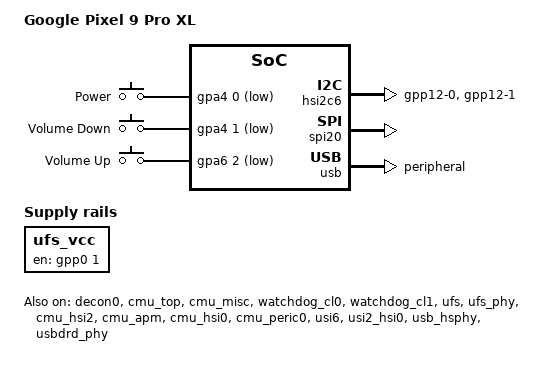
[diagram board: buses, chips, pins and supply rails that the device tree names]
// SPDX-License-Identifier: GPL-2.0-only
/*
 * Google Pixel 9 Pro XL (komodo) board identification.
 *
 * Boot, storage, display and USB2 paths are described here. Experimental
 * touch, Type-C, WLAN and GPU devices remain disabled.
 */

/dts-v1/;

#include <dt-bindings/gpio/gpio.h>
#include <dt-bindings/clock/google,zumapro-acpm.h>
#include <dt-bindings/input/linux-event-codes.h>
#include "../exynos-pinctrl.h"
#include "zumapro.dtsi"
/* SoC reservations remain source-derived. Komodo's display handoff is added
 * below from the live address and geometry measured on the phone.
 */
#include "zumapro-reserved-memory.dtsi"

/ {
	model = "Google Pixel 9 Pro XL";
	compatible = "google,zumapro-komodo", "google,zumapro";

	gpio-keys {
		compatible = "gpio-keys";

		key-power {
			label = "Power";
			linux,code = <KEY_POWER>;
			gpios = <&gpa4 0 GPIO_ACTIVE_LOW>;
			wakeup-source;
		};

		key-volume-down {
			label = "Volume Down";
			linux,code = <KEY_VOLUMEDOWN>;
			gpios = <&gpa4 1 GPIO_ACTIVE_LOW>;
		};

		key-volume-up {
			label = "Volume Up";
			linux,code = <KEY_VOLUMEUP>;
			gpios = <&gpa6 2 GPIO_ACTIVE_LOW>;
		};
	};

	/* Zumapro's UFS VCC switch is GPIO GPP0[1]. */
	ufs_vcc: regulator-ufs-vcc {
		compatible = "regulator-fixed";
		regulator-name = "ufs-vcc";
		gpio = <&gpp0 1 GPIO_ACTIVE_HIGH>;
		enable-active-high;
		regulator-boot-on;
		regulator-always-on;
	};

	wlan_reg_on: regulator-wlan-reg-on {
		compatible = "regulator-fixed";
		regulator-name = "wlan-reg-on";
		gpio = <&gph3 4 GPIO_ACTIVE_HIGH>;
		enable-active-high;
		startup-delay-us = <150000>;
		pinctrl-names = "default";
		pinctrl-0 = <&komodo_wlan_reg_on_pins>;
		status = "disabled";
	};

	/* The phone reports package mode 0; Google's tuple identifies FOPLP. */
	soc_compatible {
		A0_FOPLP {
			product_id = <0x9875>;
			major = <0>;
			minor = <0>;
			pkg_mode = <0>;
		};

		A1_FOPLP {
			product_id = <0x9875>;
			major = <0>;
			minor = <1>;
			pkg_mode = <0>;
		};

		A0_IPOP {
			product_id = <0x9875>;
			major = <0>;
			minor = <0>;
			pkg_mode = <1>;
		};

		A1_IPOP {
			product_id = <0x9875>;
			major = <0>;
			minor = <1>;
			pkg_mode = <1>;
		};
	};

	chosen {
		bootargs = "clk_ignore_unused pd_ignore_unused panic=10 mem_sleep_default=s2idle";
	};

	komodo_gpu_opp: opp-table-gpu {
		compatible = "operating-points-v2";
		status = "disabled";

		opp-150000000 {
			opp-hz = /bits/ 64 <150000000>;
			opp-suspend;
		};

		opp-302000000 {
			opp-hz = /bits/ 64 <302000000>;
		};
	};
};

/ {
	reserved-memory {
		komodo_boot_fb: framebuffer@fac00000 {
			reg = <0x0 0xfac00000 (1344 * 2992 * 4)>;
			no-map;
		};

		komodo_display_pool: display-pool {
			compatible = "shared-dma-pool";
			reusable;
			size = <0x04000000>;
			alignment = <0x0 0x00200000>;
			alloc-ranges = <0x0 0xc4000000 0x10000000>;
		};

		/*
		 * All of the Wi-Fi chip's DMA buffers come from this pool. It keeps
		 * driver bugs away from the rest of RAM; it does not confine the
		 * chip's own firmware, as the HSI2 System MMU and S2MPU see PCIe and
		 * UFS on the same VID and cannot enforce on it.
		 */
		wifi_dma_pool: wifi-dma-pool {
			compatible = "restricted-dma-pool";
			size = <0x01000000>;
			alignment = <0x0 0x00200000>;
			alloc-ranges = <0x0 0x80000000 0x80000000>;
		};

	};
};

&decon0 {
	compatible = "google,zumapro-decon";
	memory-region = <&komodo_display_pool>, <&komodo_boot_fb>;
	memory-region-names = "pool", "boot-framebuffer";
	status = "okay";
};

/* Service both boot-enabled cluster watchdogs during early Linux startup. */
&pmu_system_controller {
	status = "okay";
};

/* The watchdog clocks are supplied by these disabled-by-default CMUs. */
&cmu_top {
	status = "okay";
};

&cmu_misc {
	status = "okay";
};

&watchdog_cl0 {
	status = "okay";
};

&watchdog_cl1 {
	status = "okay";
};

/* UFS with this supply was exercised in rescue and persistent boots. */
&sysreg_ufs {
	status = "okay";
};

&pinctrl_hsi2ufs {
	status = "okay";
};

&ufs {
	vcc-supply = <&ufs_vcc>;
	status = "okay";
};

&ufs_phy {
	status = "okay";
};

/* UFS's core and UniPro clocks are exported by the HSI2 CMU. */
&cmu_hsi2 {
	status = "okay";
};

/* ACPM owns the PMIC rails used by the USB2 PHY and the disabled touch node. */
&acpm_ipc {
	status = "okay";

	pmic-1 {
		compatible = "samsung,s2mpg14-pmic";

		regulators {
			eusb_vdd: ldo8m {
				regulator-name = "eusb-vdd";
			};

			eusb_vdda12: ldo9m {
				regulator-name = "eusb-vdda12";
			};

			touch_avdd: ldo4m {
				regulator-name = "touch-avdd";
				regulator-min-microvolt = <3300000>;
				regulator-max-microvolt = <3300000>;
			};

			touch_vdd: ldo25m {
				regulator-name = "touch-vdd";
				regulator-min-microvolt = <1800000>;
				regulator-max-microvolt = <1800000>;
			};
		};
	};
};

&ap2apm_mailbox {
	status = "okay";
};

&apm_sram {
	status = "okay";
};

&cmu_apm {
	status = "okay";
};

&cmu_hsi0 {
	status = "okay";
};

&cmu_peric0 {
	status = "okay";
};

&sysreg_apm {
	status = "okay";
};

&sysreg_hsi0 {
	status = "okay";
};

&sysreg_peric0 {
	status = "okay";
};

&pinctrl_alive {
	status = "okay";

	komodo_usb_pd_irq: usb-pd-irq-pins {
		samsung,pins = "gpa8-3";
		samsung,pin-function = <EXYNOS_PIN_FUNC_EINT>;
		samsung,pin-pud = <EXYNOS_PIN_PULL_UP>;
		samsung,pin-drv = <0>;
	};
};

&pinctrl_custom_alive {
	status = "okay";
};

&pinctrl_peric0 {
	status = "okay";

	komodo_hsi2c6_pins: hsi2c6-bus-pins {
		samsung,pins = "gpp12-0", "gpp12-1";
		samsung,pin-function = <3>;
		samsung,pin-pud = <3>;
		samsung,pin-drv = <0>;
	};

	komodo_touch_reset: touch-reset-pins {
		samsung,pins = "gpp1-1";
		samsung,pin-function = <1>;
		samsung,pin-val = <0>;
	};
};

&pinctrl_hsi2 {
	status = "okay";

	komodo_wlan_reg_on_pins: wlan-reg-on-pins {
		samsung,pins = "gph3-4";
		samsung,pin-function = <2>;
		samsung,pin-pud = <0>;
		samsung,pin-con-pdn = <3>;
		samsung,pin-pud-pdn = <0>;
		samsung,pin-drv = <2>;
	};
};

&gpa4 {
	interrupt-controller;
	#interrupt-cells = <2>;
	interrupts = <GIC_SPI 28 IRQ_TYPE_LEVEL_HIGH>,
		     <GIC_SPI 29 IRQ_TYPE_LEVEL_HIGH>;
};

&gpa6 {
	interrupt-controller;
	#interrupt-cells = <2>;
	interrupts = <GIC_SPI 30 IRQ_TYPE_LEVEL_HIGH>,
		     <GIC_SPI 31 IRQ_TYPE_LEVEL_HIGH>,
		     <GIC_SPI 32 IRQ_TYPE_LEVEL_HIGH>,
		     <GIC_SPI 33 IRQ_TYPE_LEVEL_HIGH>,
		     <GIC_SPI 34 IRQ_TYPE_LEVEL_HIGH>,
		     <GIC_SPI 35 IRQ_TYPE_LEVEL_HIGH>;
};

&gpa8 {
	interrupt-controller;
	#interrupt-cells = <2>;
	interrupt-parent = <&gic>;
	interrupts = <0 44 4>, <0 45 4>, <0 46 4>, <0 47 4>;
};

&gpn0 {
	interrupt-controller;
	#interrupt-cells = <2>;
	interrupts = <0 0 4>;
};

&usi6 {
	status = "okay";
};

&hsi2c6 {
	#address-cells = <1>;
	#size-cells = <0>;
	pinctrl-names = "default";
	pinctrl-0 = <&komodo_hsi2c6_pins>;
	status = "okay";

	tcpc@25 {
		compatible = "maxim,max77759-tcpci", "maxim,max33359";
		reg = <0x25>;
		interrupt-parent = <&gpa8>;
		interrupts = <3 8>;
		pinctrl-names = "default";
		pinctrl-0 = <&komodo_usb_pd_irq>;
		status = "disabled";

		connector {
			compatible = "usb-c-connector";
			label = "USB-C";
			data-role = "dual";
			power-role = "sink";
			try-power-role = "sink";
		};
	};
};

&usi2_hsi0 {
	status = "okay";
};

&spi20 {
	status = "okay";

	touchscreen@0 {
		compatible = "syna,s3908";
		reg = <0>;
		spi-max-frequency = <10000000>;
		interrupt-parent = <&gpn0>;
		interrupts = <0 8>;
		reset-gpios = <&gpp1 1 GPIO_ACTIVE_LOW>;
		pinctrl-names = "default";
		pinctrl-0 = <&komodo_touch_reset>;
		avdd-supply = <&touch_avdd>;
		vdd-supply = <&touch_vdd>;
		status = "disabled";
	};
};

&usb {
	clocks = <&cmu_hsi0 CLK_GOUT_HSI0_USB_LINK>,
		 <&cmu_hsi0 CLK_MOUT_HSI0_USB20_REF>,
		 <&cmu_hsi0 CLK_GOUT_HSI0_USB_SUSPEND>,
		 <&cmu_hsi0 CLK_GOUT_HSI0_USB_SUBCTL>;
	clock-names = "bus_early", "ref", "suspend", "subctl";
	dr_mode = "peripheral";
	maximum-speed = "high-speed";
	snps,dis-u2-freeclk-exists-quirk;
	snps,usb2-gadget-lpm-disable;
	status = "okay";
};

&usb_hsphy {
	vdd-supply = <&eusb_vdd>;
	vdda12-supply = <&eusb_vdda12>;
	status = "okay";
};

&usbdrd_phy {
	status = "okay";
};

&pcie_1 {
	status = "disabled";
	max-link-speed = <3>;

	pcie@0,0 {
		compatible = "pciclass,0604";
		device_type = "pci";
		reg = <0x0 0x0 0x0 0x0 0x0>;
		bus-range = <0x01 0xff>;
		#address-cells = <3>;
		#size-cells = <2>;
		ranges;
		vpcie3v3-supply = <&wlan_reg_on>;
		aspm-no-l0s;
		aspm-no-l1;
		status = "disabled";

		wifi@0,0 {
			compatible = "pci14e4,4438";
			reg = <0x10000 0x0 0x0 0x0 0x0>;
			brcm,board-type = "google,zumapro-komodo";
			memory-region = <&wifi_dma_pool>;
			status = "disabled";
		};
	};
};

&pcie_1_phy {
	status = "disabled";
};

&gpu {
	clocks = <&acpm_ipc ZUMAPRO_CLK_ACPM_GPU>,
		 <&cmu_g3d CLK_GOUT_G3D_COREGROUP>,
		 <&cmu_g3d CLK_GOUT_G3D_STACKS>;
	operating-points-v2 = <&komodo_gpu_opp>;
	status = "disabled";
};
